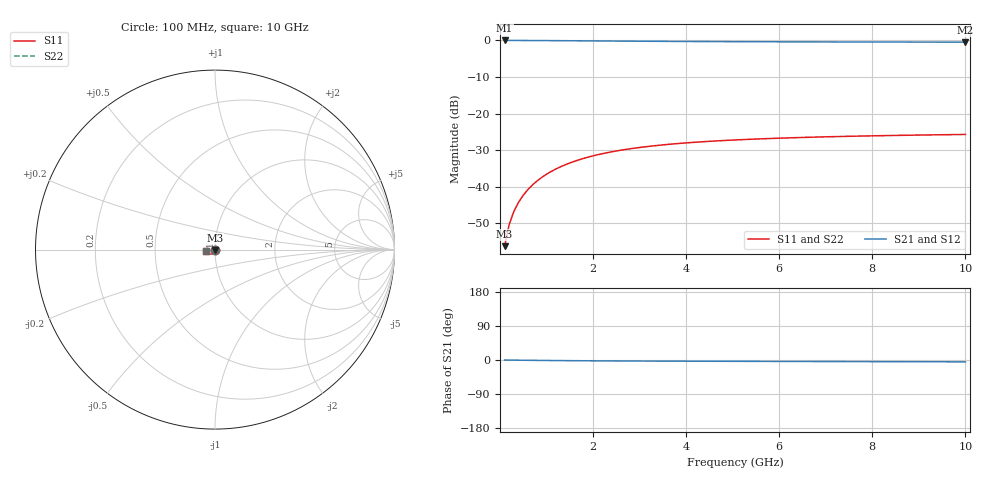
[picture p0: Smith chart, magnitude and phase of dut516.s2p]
! Touchstone file exported from HFSS 2024.1.0
!  File:  C:/UserFiles/LocalFiles/RDL_TSV_Batchsim/temp_TSV1_516_1779703070.aedt
!  Generated:  06:05:53 PM May 25, 2026
!  Design:  TSV1
!  Project:  temp_TSV1_516_1779703070
!  Setup:  Setup1
!  Solution:  Sweep
! Variables:
!  dtsv = 13.55um
!  hbump = 3um
!  htsv = 73.88um
!  lrdl = 252.1521522um
!  p = 40
!  p1 = 53um
!  t = 500um
!  trdl = 3um
!  wrdl = 24.89489489um
# GHz S MA R 50.000000
! Terminal data exported
! Port[1] = TSV22_T1
! Port[2] = TSV22_T2
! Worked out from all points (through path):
!   100 points, 100 MHz to 10 GHz, reference 50 ohm
!   highest |S21| = 0.00 dB at 100 MHz (marker M1); lowest = -0.5 dB at 10 GHz (marker M2)
!   lowest |S11| = -56.3 dB at 100 MHz (marker M3), VSWR 1.00, Z = 50 - j0.154 ohm
!   |S11| at or under -10 dB: start of sweep to end of sweep
!   |S22| runs from -56.3 to -25.7 dB; largest |S21 - S12| = 5.3e-15
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0.1  0.001536 -88.8  0.9999 -0.1  0.9999 -0.1  0.001536 -88.8
! Gamma 0 0 0 0
! Port Impedance 50 0 50 0
0.2  0.003069 -91.9  0.9997 -0.3  0.9997 -0.3  0.003069 -91.9
0.3  0.0046 -94.2  0.9994 -0.4  0.9994 -0.4  0.0046 -94.2
0.4  0.006123 -96.2  0.9991 -0.5  0.9991 -0.5  0.006123 -96.2
0.5  0.00763 -98.2  0.9986 -0.7  0.9986 -0.7  0.00763 -98.2
0.6  0.009118 -100.0  0.9981 -0.8  0.9981 -0.8  0.009118 -100.0
0.7  0.01058 -101.9  0.9975 -0.9  0.9975 -0.9  0.01058 -101.9
0.8  0.01202 -103.7  0.9969 -1.0  0.9969 -1.0  0.01202 -103.7
0.9  0.01342 -105.5  0.9961 -1.1  0.9961 -1.1  0.01342 -105.5
1.1  0.01613 -108.9  0.9945 -1.4  0.9945 -1.4  0.01613 -108.9
1.4  0.01991 -113.7  0.9918 -1.7  0.9918 -1.7  0.01991 -113.7
1.6  0.02223 -116.8  0.9898 -1.8  0.9898 -1.8  0.02223 -116.8
1.8  0.02439 -119.6  0.9878 -2.0  0.9878 -2.0  0.02439 -119.6
2.1  0.02735 -123.7  0.9848 -2.2  0.9848 -2.2  0.02735 -123.7
2.5  0.03078 -128.5  0.9808 -2.5  0.9808 -2.5  0.03078 -128.5
2.9  0.0337 -132.9  0.9771 -2.7  0.9771 -2.7  0.0337 -132.9
3.4  0.03674 -137.7  0.9729 -2.9  0.9729 -2.9  0.03674 -137.7
4.2  0.04054 -144.1  0.9672 -3.2  0.9672 -3.2  0.04054 -144.1
5.1  0.0437 -150.0  0.9622 -3.5  0.9622 -3.5  0.0437 -150.0
6.7  0.04751 -158.2  0.9557 -4.0  0.9557 -4.0  0.04751 -158.2
8.4  0.05011 -164.9  0.9512 -4.4  0.9512 -4.4  0.05011 -164.9
10  0.0518 -170.0  0.9483 -4.9  0.9483 -4.9  0.0518 -170.0
